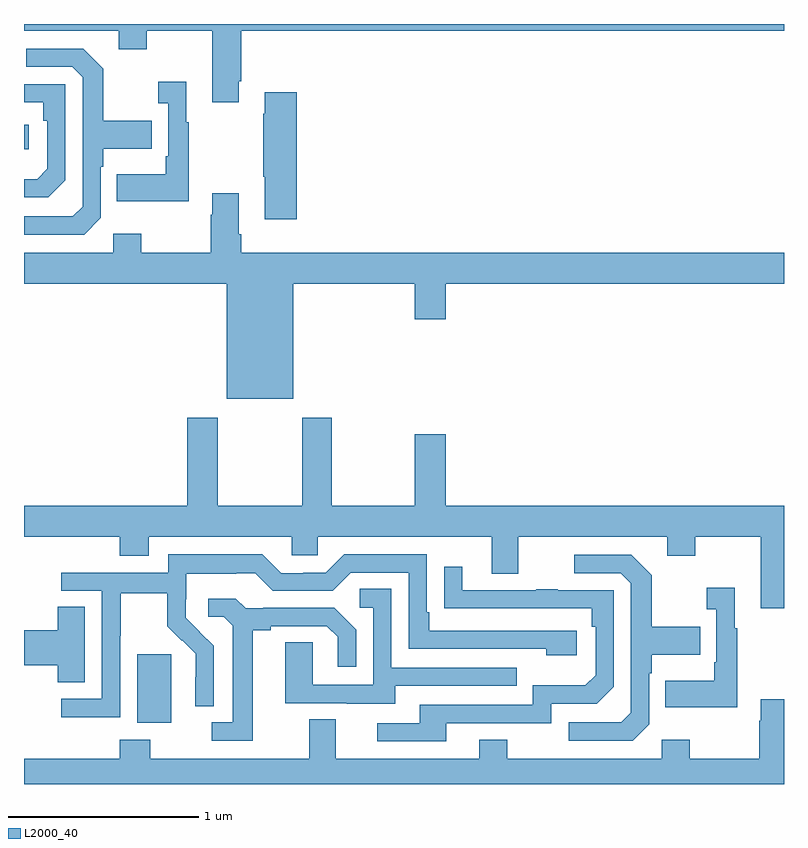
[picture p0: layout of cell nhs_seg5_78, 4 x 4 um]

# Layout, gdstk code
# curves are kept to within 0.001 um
import gdstk
lib = gdstk.Library(unit=1e-6, precision=1e-09)
def R(c, l, rs):  # rectangles x0, y0, x1, y1
    for r in rs: c.add(gdstk.rectangle(r[:2], r[2:], *l))
def P(c, l, *ps):  # polygons
    for p in ps: c.add(gdstk.Polygon(p, *l))
L2000_40 = (2000, 40)

nhs_seg5_78 = lib.new_cell('nhs_seg5_78')
R(nhs_seg5_78, L2000_40, [(115.595,849.122,115.774,849.483), (115,852.14,115.024,852.27)])
P(nhs_seg5_78, L2000_40, [(116.131,852.499),(116.144,852.499),(116.144,852.764),(119,852.764),(119,852.799),(115,852.799),(115,852.764),(115.499,852.764),(115.499,852.665),(115.647,852.665),(115.647,852.764),(115.991,852.764),(115.991,852.387),(116.131,852.387)],
  [(115.404,851.778),(115.404,852.047),(115.417,852.047),(115.417,852.143),(115.673,852.143),(115.673,852.291),(115.417,852.291),(115.417,852.563),(115.311,852.669),(115.011,852.669),(115.011,852.573),(115.254,852.573),(115.308,852.519),(115.308,851.838),(115.257,851.787),(115,851.787),(115,851.691),(115.317,851.691)],
  [(115.867,852.283),(115.855,852.283),(115.855,852.496),(115.707,852.496),(115.707,852.383),(115.758,852.383),(115.758,852.103),(115.746,852.103),(115.746,852.007),(115.489,852.007),(115.489,851.867),(115.867,851.867)],
  [(115.218,851.976),(115.218,852.483),(115,852.483),(115,852.387),(115.102,852.387),(115.102,852.29),(115.122,852.29),(115.122,852.036),(115.069,851.983),(115,851.983),(115,851.886),(115.128,851.886)],
  [(116.435,852.439),(116.267,852.439),(116.267,852.326),(116.26,852.326),(116.26,851.995),(116.267,851.995),(116.267,851.772),(116.435,851.772)],
  [(116.416,851.432),(117.056,851.432),(117.056,851.244),(117.22,851.244),(117.22,851.432),(119,851.432),(119,851.596),(116.144,851.596),(116.144,851.692),(116.131,851.692),(116.131,851.908),(115.991,851.908),(115.991,851.795),(115.984,851.795),(115.984,851.596),(115.617,851.596),(115.617,851.695),(115.47,851.695),(115.47,851.596),(115,851.596),(115,851.432),(116.066,851.432),(116.066,850.826),(116.416,850.826)],
  [(119,850.264),(117.22,850.264),(117.22,850.639),(117.056,850.639),(117.056,850.264),(116.619,850.264),(116.619,850.726),(116.464,850.726),(116.464,850.264),(116.019,850.264),(116.019,850.726),(115.859,850.726),(115.859,850.264),(115,850.264),(115,850.1),(115.505,850.1),(115.505,850.001),(115.657,850.001),(115.657,850.1),(116.409,850.1),(116.409,850.002),(116.547,850.002),(116.547,850.1),(117.461,850.1),(117.461,849.906),(117.601,849.906),(117.601,850.1),(118.385,850.1),(118.385,850.001),(118.533,850.001),(118.533,850.1),(118.877,850.1),(118.877,849.723),(119,849.723)],
  [(115.506,849.58),(115.509,849.58),(115.509,849.804),(115.753,849.804),(115.753,849.629),(115.83,849.552),(115.833,849.555),(115.904,849.485),(115.904,849.362),(115.902,849.362),(115.902,849.208),(115.998,849.208),(115.998,849.526),(115.852,849.674),(115.852,849.771),(115.854,849.771),(115.854,849.905),(116.117,849.905),(116.117,849.909),(116.217,849.909),(116.31,849.816),(116.625,849.816),(116.721,849.912),(117.024,849.912),(117.024,849.51),(117.749,849.51),(117.749,849.476),(117.91,849.476),(117.91,849.606),(117.133,849.606),(117.133,849.703),(117.12,849.703),(117.12,850.008),(116.685,850.008),(116.589,849.912),(116.471,849.912),(116.471,849.909),(116.355,849.909),(116.255,850.009),(115.758,850.009),(115.758,849.912),(115.197,849.912),(115.197,849.816),(115.41,849.816),(115.41,849.249),(115.197,849.249),(115.197,849.151),(115.506,849.151)],
  [(118.29,849.114),(118.29,849.383),(118.303,849.383),(118.303,849.479),(118.559,849.479),(118.559,849.627),(118.303,849.627),(118.303,849.899),(118.197,850.005),(117.897,850.005),(117.897,849.909),(118.14,849.909),(118.194,849.855),(118.194,849.174),(118.143,849.123),(117.867,849.123),(117.867,849.027),(118.203,849.027)],
  [(117.223,849.12),(117.774,849.12),(117.774,849.222),(118.014,849.222),(118.104,849.312),(118.104,849.819),(117.809,849.819),(117.809,849.824),(117.697,849.824),(117.697,849.819),(117.307,849.819),(117.307,849.943),(117.211,849.943),(117.211,849.724),(117.988,849.723),(117.988,849.626),(118.008,849.626),(118.008,849.372),(117.955,849.319),(117.678,849.319),(117.678,849.216),(117.083,849.216),(117.083,849.12),(116.859,849.12),(116.859,849.024),(117.223,849.024)],
  [(118.753,849.619),(118.741,849.619),(118.741,849.832),(118.593,849.832),(118.593,849.719),(118.644,849.719),(118.644,849.439),(118.632,849.439),(118.632,849.343),(118.375,849.343),(118.375,849.203),(118.753,849.203)],
  [(116.953,849.315),(117.593,849.315),(117.593,849.411),(116.934,849.411),(116.934,849.827),(116.766,849.827),(116.766,849.726),(116.838,849.726),(116.838,849.321),(116.52,849.321),(116.52,849.545),(116.375,849.545),(116.375,849.225),(116.699,849.225),(116.699,849.221),(116.953,849.221)],
  [(116.203,849.608),(116.299,849.608),(116.299,849.63),(116.594,849.63),(116.651,849.573),(116.651,849.417),(116.748,849.417),(116.748,849.61),(116.632,849.726),(116.26,849.726),(116.26,849.723),(116.166,849.723),(116.114,849.775),(115.971,849.775),(115.971,849.678),(116.052,849.678),(116.099,849.631),(116.099,849.123),(115.989,849.123),(115.989,849.027),(116.203,849.027)],
  [(115.321,849.731),(115.178,849.731),(115.178,849.608),(115,849.608),(115,849.425),(115.178,849.425),(115.178,849.334),(115.321,849.334)],
  [(119,849.244),(118.877,849.244),(118.877,849.131),(118.87,849.131),(118.87,848.932),(118.503,848.932),(118.503,849.031),(118.356,849.031),(118.356,848.932),(117.543,848.932),(117.543,849.031),(117.395,849.031),(117.395,848.932),(116.641,848.932),(116.641,849.14),(116.501,849.14),(116.501,848.932),(115.665,848.932),(115.665,849.031),(115.505,849.031),(115.505,848.932),(115,848.932),(115,848.799),(119,848.799)])

lib.write_gds('nhs_seg5_78.gds')
